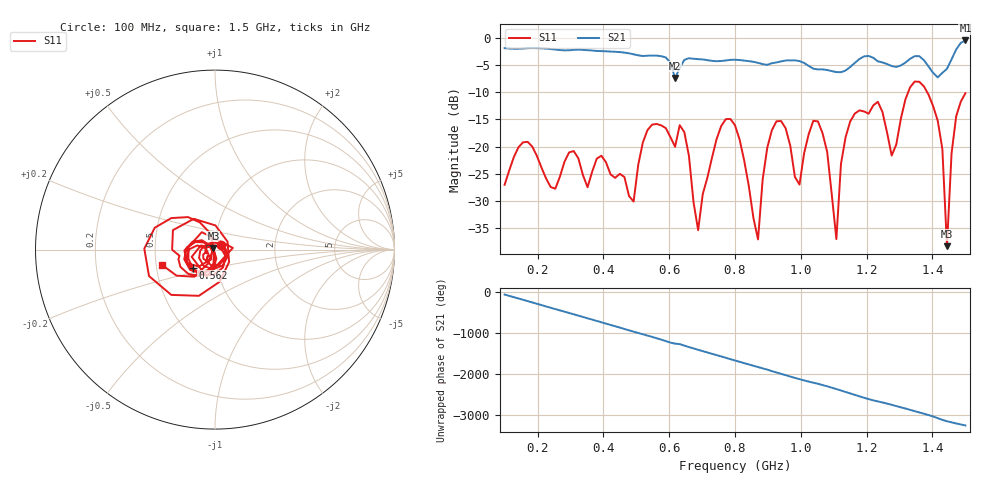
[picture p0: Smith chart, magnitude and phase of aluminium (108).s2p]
! NanoVNA-App
! Date: 2025-09-25 14:56:07
! Start: 100MHz Stop: 1,5GHz Points: 101
! S-Parameter data: F S11 S21 S12 S22
# Hz S RI R 50
!  Frequency  S11_Real  S11_Imag  S21_Real  S21_Imag  S12_Real  S12_Imag  S22_Real  S22_Imag
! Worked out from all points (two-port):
!   101 points, 100 MHz to 1.5 GHz, reference 50 ohm
!   highest |S21| = -0.51 dB at 1.5 GHz (marker M1); lowest = -7.4 dB at 618 MHz (marker M2)
!   |S21| within 3 dB of the highest: start of sweep to 582.5 MHz; 1.462 GHz to end of sweep (the widest 2 of 4)
!   lowest |S11| = -38.3 dB at 1.444 GHz (marker M3), VSWR 1.02, Z = 49.1 + j0.849 ohm
!   |S11| at or under -10 dB: start of sweep to 1.326 GHz; 1.384 GHz to end of sweep
!   S12 and S22 are empty: the file has one direction only
!   S11 on the Smith chart (normalised r, x): 100 MHz: 1.07, +0.06; 562 MHz: 0.76, -0.16; 1.5 GHz: 0.54, -0.10
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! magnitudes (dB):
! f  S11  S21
! 100 MHz  -27.0  -1.9
! 338 MHz  -25.2  -2.2
! 492 MHz  -30.1  -3.1
! 562 MHz  -15.8  -3.3
! 576 MHz  -16.1  -3.4
! 618 MHz  -20.0  -7.4
! 646 MHz  -17.3  -4.1
! 688 MHz  -35.3  -3.9
! 800 MHz  -16.1  -4.0
! 870 MHz  -37.0  -4.6
! 912 MHz  -17.0  -4.7
! 996 MHz  -27.0  -4.3
! 1.038 GHz  -15.2  -5.7
! 1.108 GHz  -37.0  -6.3
! 1.122 GHz  -23.1  -6.3
! 1.164 GHz  -13.9  -4.6
! 1.276 GHz  -21.6  -5.2
! 1.374 GHz  -8.9  -4.1
! 1.43 GHz  -20.4  -6.4
! 1.444 GHz  -38.3  -5.7
! 1.458 GHz  -21.2  -4.0
! 1.5 GHz  -10.2  -0.5
